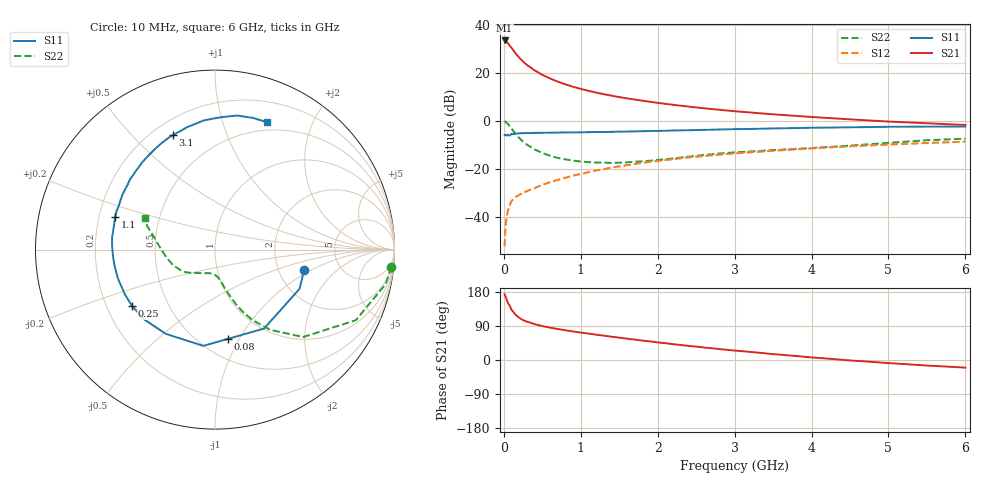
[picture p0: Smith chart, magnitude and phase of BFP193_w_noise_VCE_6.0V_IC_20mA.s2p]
! Infineon Technologies  Discrete & RF Semiconductors
! BFP193
! VCE =  6.0 V,  IC =  20 mA
! Common Emitter S-Parameters:  Jan 2017
# GHz  S  MA  R  50
!  f  S11  S21  S12  S22
! GHz  MAG  ANG  MAG  ANG  MAG  ANG  MAG  ANG
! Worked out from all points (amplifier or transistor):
!   77 points, 10 MHz to 6 GHz, reference 50 ohm
!   highest |S21| = 33.5 dB at 10 MHz (marker M1)
!   |S21| within 3 dB of that: start of sweep to 98.04 MHz
!   unconditionally stable (mu >= 1): 883.3 MHz to 2.53 GHz
!   at 130 MHz: K = 0.37, MSG = 30.7 dB, |S12| = -32.3 dB
!   at 2.2 GHz: K = 1.02, MAG = 10.5 dB, |S12| = -15.9 dB
!   at 6 GHz: K = 0.90, MSG = 3.5 dB, |S12| = -8.6 dB
!   lowest NFmin = 1.05 dB at 450 MHz
!   S11 on the Smith chart (normalised r, x): 10 MHz: 2.79, -0.84; 80 MHz: 0.67, -0.90; 250 MHz: 0.31, -0.28; 1.1 GHz: 0.27, +0.15; 3.1 GHz: 0.28, +0.66; 6 GHz: 0.41, +1.41
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0.01  0.5091 -12.6  47.07 173.7  0.0025 87.9  0.9876 -5.6
0.02  0.5193 -24.8  46.77 168.0  0.0057 81.8  0.9695 -11.5
0.05  0.5179 -58.1  42.04 151.7  0.0133 68.5  0.878 -26.6
0.08  0.5027 -81.9  36.11 141.1  0.0183 60.8  0.757 -36.4
0.1  0.5403 -96.9  33.05 132.1  0.0217 57.6  0.6922 -44.7
0.15  0.5438 -120.4  25.72 119.6  0.0261 52.5  0.544 -55.4
0.2  0.5539 -135.3  20.7 111.4  0.0291 51.6  0.444 -62.1
0.25  0.5584 -145.7  17.17 105.3  0.0322 50.8  0.3731 -66.3
0.3  0.5607 -153.1  14.59 101.1  0.0348 51.0  0.3212 -69.3
0.4  0.5647 -163.7  11.24 94.4  0.0402 54.5  0.2558 -73.2
0.5  0.5672 -171.6  9.08 89.5  0.047 56.1  0.2158 -76.2
0.6  0.5701 -177.5  7.637 85.3  0.0533 57.7  0.189 -78.6
0.7  0.5738 177.8  6.566 81.9  0.0594 58.6  0.1703 -80.7
0.9  0.5769 169.4  5.131 75.3  0.073 59.9  0.1504 -85.6
1.1  0.5854 162.1  4.234 69.7  0.0863 60.0  0.1395 -90.9
1.5  0.5992 149.5  3.132 59.0  0.1139 58.1  0.1358 -104.6
2.1  0.6266 132.5  2.269 44.3  0.1541 53.0  0.1604 -125.6
2.6  0.6531 120.6  1.836 33.1  0.1869 47.9  0.196 -139.3
3.1  0.6787 110.3  1.547 23.2  0.2168 42.4  0.2267 -150.9
4.1  0.7249 93.4  1.183 5.3  0.2745 31.6  0.2798 -173.2
5.1  0.7576 79.2  0.956 -9.4  0.3283 20.5  0.3595 166.3
6  0.7667 67.8  0.825 -20.2  0.3715 10.4  0.4288 155.9
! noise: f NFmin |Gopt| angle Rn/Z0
0.45  1.05  0.27  180  0.07
0.9  1.13  0.36  -178  0.07
1.9  1.76  0.56  -140  0.15
2.4  2.1  0.62  -124  0.34
